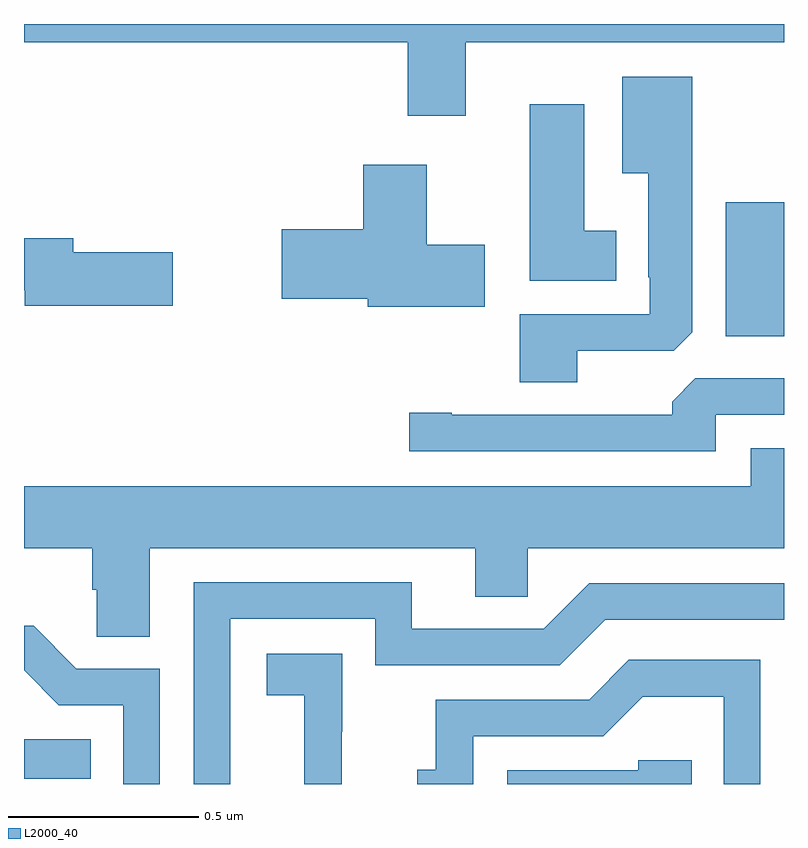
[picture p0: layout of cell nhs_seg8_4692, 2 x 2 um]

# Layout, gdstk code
import gdstk
lib = gdstk.Library(unit=1e-6, precision=1e-09)
def R(c, l, rs):  # rectangles x0, y0, x1, y1
    for r in rs: c.add(gdstk.rectangle(r[:2], r[2:], *l))
def P(c, l, *ps):  # polygons
    for p in ps: c.add(gdstk.Polygon(p, *l))
L2000_40 = (2000, 40)

nhs_seg8_4692 = lib.new_cell('nhs_seg8_4692')
R(nhs_seg8_4692, L2000_40, [(174,1095.914,174.176,1096.018), (175.847,1097.078,176,1097.431)])
P(nhs_seg8_4692, L2000_40, [(175.162,1097.852),(176,1097.852),(176,1097.9),(174,1097.9),(174,1097.852),(175.01,1097.852),(175.01,1097.658),(175.162,1097.658)],
  [(175.456,1097.04),(175.71,1097.04),(175.759,1097.089),(175.759,1097.761),(175.574,1097.761),(175.574,1097.507),(175.643,1097.507),(175.643,1097.233),(175.647,1097.233),(175.647,1097.136),(175.304,1097.136),(175.304,1096.957),(175.456,1096.957)],
  [(175.558,1097.356),(175.474,1097.356),(175.474,1097.689),(175.331,1097.689),(175.331,1097.225),(175.558,1097.225)],
  [(175.213,1097.319),(175.06,1097.319),(175.06,1097.53),(174.893,1097.53),(174.893,1097.36),(174.678,1097.36),(174.678,1097.177),(174.905,1097.177),(174.905,1097.156),(175.213,1097.156)],
  [(174.391,1097.3),(174.13,1097.3),(174.13,1097.336),(174,1097.336),(174,1097.2),(174.002,1097.2),(174.002,1097.158),(174.391,1097.158)],
  [(175.821,1096.872),(176,1096.872),(176,1096.968),(175.767,1096.968),(175.706,1096.906),(175.706,1096.872),(175.126,1096.872),(175.126,1096.877),(175.014,1096.877),(175.014,1096.776),(175.821,1096.776)],
  [(174.331,1096.52),(175.187,1096.52),(175.187,1096.393),(175.326,1096.393),(175.326,1096.52),(176,1096.52),(176,1096.783),(175.913,1096.783),(175.913,1096.684),(174,1096.684),(174,1096.52),(174.179,1096.52),(174.179,1096.411),(174.192,1096.411),(174.192,1096.288),(174.331,1096.288)],
  [(174.543,1096.335),(174.924,1096.335),(174.924,1096.212),(175.41,1096.212),(175.53,1096.332),(176,1096.332),(176,1096.428),(175.488,1096.428),(175.368,1096.308),(175.021,1096.308),(175.021,1096.431),(174.447,1096.431),(174.447,1095.9),(174.543,1095.9)],
  [(174.357,1096.203),(174.138,1096.203),(174.025,1096.316),(174,1096.316),(174,1096.199),(174.092,1096.107),(174.261,1096.107),(174.261,1095.9),(174.357,1095.9)],
  [(174.836,1096.037),(174.837,1096.037),(174.837,1096.243),(174.639,1096.243),(174.639,1096.133),(174.737,1096.133),(174.737,1095.905),(174.738,1095.905),(174.738,1095.9),(174.836,1095.9)],
  [(175.182,1096.026),(175.524,1096.026),(175.628,1096.13),(175.842,1096.13),(175.842,1095.9),(175.938,1095.9),(175.938,1096.227),(175.592,1096.227),(175.487,1096.122),(175.084,1096.122),(175.084,1095.937),(175.035,1095.937),(175.035,1095.9),(175.182,1095.9)],
  [(175.757,1095.963),(175.617,1095.963),(175.617,1095.936),(175.272,1095.936),(175.272,1095.9),(175.757,1095.9)])

lib.write_gds('nhs_seg8_4692.gds')
